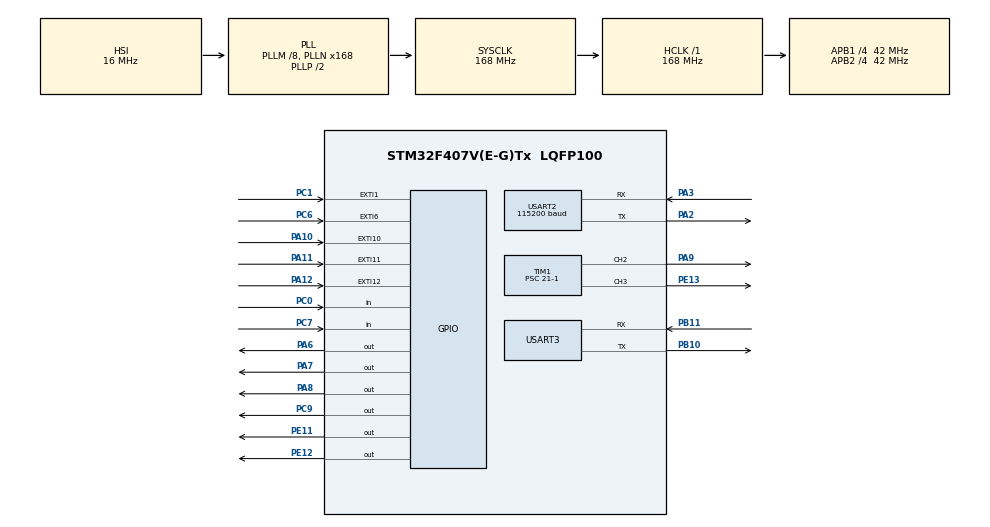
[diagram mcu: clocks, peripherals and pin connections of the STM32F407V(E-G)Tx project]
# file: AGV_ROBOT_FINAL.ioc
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Dma.Request0=USART2_RX
Dma.Request1=USART2_TX
Dma.USART2_RX.0.Direction=DMA_PERIPH_TO_MEMORY
Dma.USART2_RX.0.FIFOMode=DMA_FIFOMODE_DISABLE
Dma.USART2_RX.0.Instance=DMA1_Stream5
Dma.USART2_RX.0.MemDataAlignment=DMA_MDATAALIGN_BYTE
Dma.USART2_RX.0.MemInc=DMA_MINC_ENABLE
Dma.USART2_RX.0.Mode=DMA_CIRCULAR
Dma.USART2_RX.0.PeriphDataAlignment=DMA_PDATAALIGN_BYTE
Dma.USART2_RX.0.PeriphInc=DMA_PINC_DISABLE
Dma.USART2_RX.0.Priority=DMA_PRIORITY_LOW
Dma.USART2_TX.1.Direction=DMA_MEMORY_TO_PERIPH
Dma.USART2_TX.1.FIFOMode=DMA_FIFOMODE_DISABLE
Dma.USART2_TX.1.Instance=DMA1_Stream6
Dma.USART2_TX.1.MemDataAlignment=DMA_MDATAALIGN_BYTE
Dma.USART2_TX.1.MemInc=DMA_MINC_ENABLE
Dma.USART2_TX.1.Mode=DMA_NORMAL
Dma.USART2_TX.1.PeriphDataAlignment=DMA_PDATAALIGN_BYTE
Dma.USART2_TX.1.PeriphInc=DMA_PINC_DISABLE
Dma.USART2_TX.1.Priority=DMA_PRIORITY_LOW
Mcu.Family=STM32F4
Mcu.Name=STM32F407V(E-G)Tx
Mcu.Package=LQFP100
NVIC.DMA1_Stream5_IRQn=true\:0\:0\:false\:false\:true\:false\:true
NVIC.DMA1_Stream6_IRQn=true\:0\:0\:false\:false\:true\:false\:true
NVIC.EXTI15_10_IRQn=true\:2\:0\:true\:false\:true\:true\:true
NVIC.EXTI1_IRQn=true\:0\:0\:false\:false\:true\:true\:true
NVIC.EXTI9_5_IRQn=true\:0\:0\:false\:false\:true\:true\:true
NVIC.PriorityGroup=NVIC_PRIORITYGROUP_4
NVIC.TIM1_BRK_TIM9_IRQn=true\:0\:0\:false\:false\:true\:true\:true
NVIC.USART2_IRQn=true\:0\:0\:false\:false\:true\:true\:true
NVIC.USART3_IRQn=true\:0\:0\:false\:false\:true\:true\:true
PA10.GPIO_ModeDefaultEXTI=GPIO_MODE_IT_FALLING
PA10.GPIO_PuPd=GPIO_PULLUP
PA10.Signal=GPXTI10
PA11.GPIO_ModeDefaultEXTI=GPIO_MODE_IT_FALLING
PA11.GPIO_PuPd=GPIO_PULLUP
PA11.Signal=GPXTI11
PA12.GPIO_ModeDefaultEXTI=GPIO_MODE_IT_FALLING
PA12.GPIO_PuPd=GPIO_PULLUP
PA12.Signal=GPXTI12
PA13.Mode=Serial_Wire
PA13.Signal=SYS_JTMS-SWDIO
PA14.Mode=Serial_Wire
PA14.Signal=SYS_JTCK-SWCLK
PA2.Mode=Asynchronous
PA2.Signal=USART2_TX
PA3.Mode=Asynchronous
PA3.Signal=USART2_RX
PA6.Signal=GPIO_Output
PA7.Signal=GPIO_Output
PA8.Signal=GPIO_Output
PA9.Signal=S_TIM1_CH2
PB10.Mode=Asynchronous
PB10.Signal=USART3_TX
PB11.Mode=Asynchronous
PB11.Signal=USART3_RX
PC0.GPIO_PuPd=GPIO_PULLUP
PC0.Signal=GPIO_Input
PC1.GPIO_ModeDefaultEXTI=GPIO_MODE_IT_FALLING
PC1.GPIO_PuPd=GPIO_PULLUP
PC1.Signal=GPXTI1
PC6.GPIO_ModeDefaultEXTI=GPIO_MODE_IT_FALLING
PC6.GPIO_PuPd=GPIO_PULLUP
PC6.Signal=GPXTI6
PC7.GPIO_PuPd=GPIO_PULLUP
PC7.Signal=GPIO_Input
PC9.Signal=GPIO_Output
PE11.Signal=GPIO_Output
PE12.Signal=GPIO_Output
PE13.Signal=S_TIM1_CH3
ProjectManager.HeapSize=0x200
ProjectManager.StackSize=0x400
ProjectManager.TargetToolchain=STM32CubeIDE
RCC.48MHZClocksFreq_Value=84000000
RCC.AHBFreq_Value=168000000
RCC.APB1CLKDivider=RCC_HCLK_DIV4
RCC.APB1Freq_Value=42000000
RCC.APB1TimFreq_Value=84000000
RCC.APB2CLKDivider=RCC_HCLK_DIV4
RCC.APB2Freq_Value=42000000
RCC.APB2TimFreq_Value=84000000
RCC.CortexFreq_Value=168000000
RCC.HCLKFreq_Value=168000000
RCC.HSE_VALUE=25000000
RCC.HSI_VALUE=16000000
RCC.LSE_VALUE=32768
RCC.PLLM=8
RCC.PLLN=168
RCC.SYSCLKFreq_VALUE=168000000
RCC.SYSCLKSource=RCC_SYSCLKSOURCE_PLLCLK
RCC.VCOOutputFreq_Value=336000000
SH.S_TIM1_CH2.0=TIM1_CH2,PWM Generation2 CH2
SH.S_TIM1_CH3.0=TIM1_CH3,PWM Generation3 CH3
TIM1.Channel-PWM\ Generation2\ CH2=TIM_CHANNEL_2
TIM1.Channel-PWM\ Generation3\ CH3=TIM_CHANNEL_3
TIM1.Period=4000-1
TIM1.Prescaler=21-1
TIM9.Period=250-1
TIM9.Prescaler=8400-1
USART2.BaudRate=115200
USART2.VirtualMode=VM_ASYNC
USART3.VirtualMode=VM_ASYNC
VP_TIM1_VS_ClockSourceINT.Mode=Internal
VP_TIM9_VS_ClockSourceINT.Mode=Internal
board=custom

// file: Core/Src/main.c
/* USER CODE BEGIN Header */
/**
  ******************************************************************************
  * @file           : main.c
  * @brief          : Main program body
  ******************************************************************************
  * @attention
  *
  * <h2><center>&copy; Copyright (c) 2021 STMicroelectronics.
  * All rights reserved.</center></h2>
  *
  * This software component is licensed by ST under BSD 3-Clause license,
  * the "License"; You may not use this file except in compliance with the
  * License. You may obtain a copy of the License at:
  *                        opensource.org/licenses/BSD-3-Clause
  *
  ******************************************************************************
  */
/* USER CODE END Header */
#include "main.h"

/* USER CODE BEGIN Includes */
#include "mainpp.h"
#include <stdlib.h>
#include <string.h>
/* USER CODE END Includes */

TIM_HandleTypeDef htim1;
TIM_HandleTypeDef htim9;

UART_HandleTypeDef huart2;
UART_HandleTypeDef huart3;
DMA_HandleTypeDef hdma_usart2_rx;
DMA_HandleTypeDef hdma_usart2_tx;

void SystemClock_Config(void);
static void MX_GPIO_Init(void);
static void MX_DMA_Init(void);
static void MX_USART2_UART_Init(void);
static void MX_TIM1_Init(void);
static void MX_TIM9_Init(void);
static void MX_USART3_UART_Init(void);

/* USER CODE BEGIN 0 */
int chuyenChartoInt(char c)
{
		return (int)c-48;
}

void DC1_thuan(int speed)
{
	__HAL_TIM_SET_COMPARE(&htim1,TIM_CHANNEL_2,speed);
	HAL_GPIO_WritePin(GPIOA,GPIO_PIN_8,GPIO_PIN_SET);
	HAL_GPIO_WritePin(GPIOC,GPIO_PIN_9,GPIO_PIN_RESET);
}

void DC1_nghich(int speed)
{
	__HAL_TIM_SET_COMPARE(&htim1,TIM_CHANNEL_2,speed);
	HAL_GPIO_WritePin(GPIOA,GPIO_PIN_8,GPIO_PIN_RESET);
	HAL_GPIO_WritePin(GPIOC,GPIO_PIN_9,GPIO_PIN_SET);
}

void DC2_thuan(int speed)
{
	__HAL_TIM_SET_COMPARE(&htim1,TIM_CHANNEL_3,speed);
	HAL_GPIO_WritePin(GPIOE,GPIO_PIN_11,GPIO_PIN_SET);
	HAL_GPIO_WritePin(GPIOE,GPIO_PIN_12,GPIO_PIN_RESET);
}
void DC2_nghich(int speed)
{
	__HAL_TIM_SET_COMPARE(&htim1,TIM_CHANNEL_3,speed);
	HAL_GPIO_WritePin(GPIOE,GPIO_PIN_11,GPIO_PIN_RESET);
	HAL_GPIO_WritePin(GPIOE,GPIO_PIN_12,GPIO_PIN_SET);
}

void lui()
{
	DC1_nghich(PWM1);
	DC2_nghich(PWM2);
}

void tien()
{
	DC1_thuan(PWM1);
	DC2_thuan(PWM2);
}

void dung()
{
	HAL_GPIO_WritePin(GPIOE,GPIO_PIN_11,GPIO_PIN_SET);
	HAL_GPIO_WritePin(GPIOE,GPIO_PIN_12,GPIO_PIN_SET);

	HAL_GPIO_WritePin(GPIOA,GPIO_PIN_8,GPIO_PIN_SET);
	HAL_GPIO_WritePin(GPIOC,GPIO_PIN_9,GPIO_PIN_SET);
}

/* USER CODE END 0 */

int main(void)
{

  /* MCU Configuration--------------------------------------------------------*/

  /* Reset of all peripherals, Initializes the Flash interface and the Systick. */
  HAL_Init();

  /* Configure the system clock */
  SystemClock_Config();

  /* Initialize all configured peripherals */
  MX_GPIO_Init();
  MX_DMA_Init();
  MX_USART2_UART_Init();
  MX_TIM1_Init();
  MX_TIM9_Init();
  MX_USART3_UART_Init();
  /* USER CODE BEGIN 2 */
	HAL_TIM_PWM_Start(&htim1,TIM_CHANNEL_2);
	HAL_TIM_PWM_Start(&htim1,TIM_CHANNEL_3);
	HAL_TIM_Base_Start_IT(&htim9);
	//HAL_UART_Receive_IT(&huart3, &pData, 1);
	setup();
  /* USER CODE END 2 */

  /* Infinite loop */
  /* USER CODE BEGIN WHILE */
  while (1)
  {
	  //loop();
	  DC2_thuan(3000);
    /* USER CODE END WHILE */

  }
}

void SystemClock_Config(void)
{
  RCC_OscInitTypeDef RCC_OscInitStruct = {0};
  RCC_ClkInitTypeDef RCC_ClkInitStruct = {0};

  /** Configure the main internal regulator output voltage
  */
  __HAL_RCC_PWR_CLK_ENABLE();
  __HAL_PWR_VOLTAGESCALING_CONFIG(PWR_REGULATOR_VOLTAGE_SCALE1);
  /** Initializes the RCC Oscillators according to the specified parameters
  * in the RCC_OscInitTypeDef structure.
  */
  RCC_OscInitStruct.OscillatorType = RCC_OSCILLATORTYPE_HSI;
  RCC_OscInitStruct.HSIState = RCC_HSI_ON;
  RCC_OscInitStruct.HSICalibrationValue = RCC_HSICALIBRATION_DEFAULT;
  RCC_OscInitStruct.PLL.PLLState = RCC_PLL_ON;
  RCC_OscInitStruct.PLL.PLLSource = RCC_PLLSOURCE_HSI;
  RCC_OscInitStruct.PLL.PLLM = 8;
  RCC_OscInitStruct.PLL.PLLN = 168;
  RCC_OscInitStruct.PLL.PLLP = RCC_PLLP_DIV2;
  RCC_OscInitStruct.PLL.PLLQ = 4;
  if (HAL_RCC_OscConfig(&RCC_OscInitStruct) != HAL_OK)
  {
    Error_Handler();
  }
  /** Initializes the CPU, AHB and APB buses clocks
  */
  RCC_ClkInitStruct.ClockType = RCC_CLOCKTYPE_HCLK|RCC_CLOCKTYPE_SYSCLK
                              |RCC_CLOCKTYPE_PCLK1|RCC_CLOCKTYPE_PCLK2;
  RCC_ClkInitStruct.SYSCLKSource = RCC_SYSCLKSOURCE_PLLCLK;
  RCC_ClkInitStruct.AHBCLKDivider = RCC_SYSCLK_DIV1;
  RCC_ClkInitStruct.APB1CLKDivider = RCC_HCLK_DIV4;
  RCC_ClkInitStruct.APB2CLKDivider = RCC_HCLK_DIV4;

  if (HAL_RCC_ClockConfig(&RCC_ClkInitStruct, FLASH_LATENCY_5) != HAL_OK)
  {
    Error_Handler();
  }
}

static void MX_TIM1_Init(void)
{

  TIM_ClockConfigTypeDef sClockSourceConfig = {0};
  TIM_MasterConfigTypeDef sMasterConfig = {0};
  TIM_OC_InitTypeDef sConfigOC = {0};
  TIM_BreakDeadTimeConfigTypeDef sBreakDeadTimeConfig = {0};

  htim1.Instance = TIM1;
  htim1.Init.Prescaler = 21-1;
  htim1.Init.CounterMode = TIM_COUNTERMODE_UP;
  htim1.Init.Period = 4000-1;
  htim1.Init.ClockDivision = TIM_CLOCKDIVISION_DIV1;
  htim1.Init.RepetitionCounter = 0;
  htim1.Init.AutoReloadPreload = TIM_AUTORELOAD_PRELOAD_DISABLE;
  if (HAL_TIM_Base_Init(&htim1) != HAL_OK)
  {
    Error_Handler();
  }
  sClockSourceConfig.ClockSource = TIM_CLOCKSOURCE_INTERNAL;
  if (HAL_TIM_ConfigClockSource(&htim1, &sClockSourceConfig) != HAL_OK)
  {
    Error_Handler();
  }
  if (HAL_TIM_PWM_Init(&htim1) != HAL_OK)
  {
    Error_Handler();
  }
  sMasterConfig.MasterOutputTrigger = TIM_TRGO_RESET;
  sMasterConfig.MasterSlaveMode = TIM_MASTERSLAVEMODE_DISABLE;
  if (HAL_TIMEx_MasterConfigSynchronization(&htim1, &sMasterConfig) != HAL_OK)
  {
    Error_Handler();
  }
  sConfigOC.OCMode = TIM_OCMODE_PWM1;
  sConfigOC.Pulse = 0;
  sConfigOC.OCPolarity = TIM_OCPOLARITY_HIGH;
  sConfigOC.OCNPolarity = TIM_OCNPOLARITY_HIGH;
  sConfigOC.OCFastMode = TIM_OCFAST_DISABLE;
  sConfigOC.OCIdleState = TIM_OCIDLESTATE_RESET;
  sConfigOC.OCNIdleState = TIM_OCNIDLESTATE_RESET;
  if (HAL_TIM_PWM_ConfigChannel(&htim1, &sConfigOC, TIM_CHANNEL_2) != HAL_OK)
  {
    Error_Handler();
  }
  if (HAL_TIM_PWM_ConfigChannel(&htim1, &sConfigOC, TIM_CHANNEL_3) != HAL_OK)
  {
    Error_Handler();
  }
  sBreakDeadTimeConfig.OffStateRunMode = TIM_OSSR_DISABLE;
  sBreakDeadTimeConfig.OffStateIDLEMode = TIM_OSSI_DISABLE;
  sBreakDeadTimeConfig.LockLevel = TIM_LOCKLEVEL_OFF;
  sBreakDeadTimeConfig.DeadTime = 0;
  sBreakDeadTimeConfig.BreakState = TIM_BREAK_DISABLE;
  sBreakDeadTimeConfig.BreakPolarity = TIM_BREAKPOLARITY_HIGH;
  sBreakDeadTimeConfig.AutomaticOutput = TIM_AUTOMATICOUTPUT_DISABLE;
  if (HAL_TIMEx_ConfigBreakDeadTime(&htim1, &sBreakDeadTimeConfig) != HAL_OK)
  {
    Error_Handler();
  }
  HAL_TIM_MspPostInit(&htim1);

}

static void MX_TIM9_Init(void)
{

  TIM_ClockConfigTypeDef sClockSourceConfig = {0};

  htim9.Instance = TIM9;
  htim9.Init.Prescaler = 8400-1;
  htim9.Init.CounterMode = TIM_COUNTERMODE_UP;
  htim9.Init.Period = 250-1;
  htim9.Init.ClockDivision = TIM_CLOCKDIVISION_DIV1;
  htim9.Init.AutoReloadPreload = TIM_AUTORELOAD_PRELOAD_DISABLE;
  if (HAL_TIM_Base_Init(&htim9) != HAL_OK)
  {
    Error_Handler();
  }
  sClockSourceConfig.ClockSource = TIM_CLOCKSOURCE_INTERNAL;
  if (HAL_TIM_ConfigClockSource(&htim9, &sClockSourceConfig) != HAL_OK)
  {
    Error_Handler();
  }

}

static void MX_USART2_UART_Init(void)
{

  huart2.Instance = USART2;
  huart2.Init.BaudRate = 115200;
  huart2.Init.WordLength = UART_WORDLENGTH_8B;
  huart2.Init.StopBits = UART_STOPBITS_1;
  huart2.Init.Parity = UART_PARITY_NONE;
  huart2.Init.Mode = UART_MODE_TX_RX;
  huart2.Init.HwFlowCtl = UART_HWCONTROL_NONE;
  huart2.Init.OverSampling = UART_OVERSAMPLING_16;
  if (HAL_UART_Init(&huart2) != HAL_OK)
  {
    Error_Handler();
  }

}

static void MX_USART3_UART_Init(void)
{

  huart3.Instance = USART3;
  huart3.Init.BaudRate = 115200;
  huart3.Init.WordLength = UART_WORDLENGTH_8B;
  huart3.Init.StopBits = UART_STOPBITS_1;
  huart3.Init.Parity = UART_PARITY_NONE;
  huart3.Init.Mode = UART_MODE_TX_RX;
  huart3.Init.HwFlowCtl = UART_HWCONTROL_NONE;
  huart3.Init.OverSampling = UART_OVERSAMPLING_16;
  if (HAL_UART_Init(&huart3) != HAL_OK)
  {
    Error_Handler();
  }

}

static void MX_DMA_Init(void)
{

  /* DMA controller clock enable */
  __HAL_RCC_DMA1_CLK_ENABLE();

  /* DMA interrupt init */
  /* DMA1_Stream5_IRQn interrupt configuration */
  HAL_NVIC_SetPriority(DMA1_Stream5_IRQn, 0, 0);
  HAL_NVIC_EnableIRQ(DMA1_Stream5_IRQn);
  /* DMA1_Stream6_IRQn interrupt configuration */
  HAL_NVIC_SetPriority(DMA1_Stream6_IRQn, 0, 0);
  HAL_NVIC_EnableIRQ(DMA1_Stream6_IRQn);

}

static void MX_GPIO_Init(void)
{
  GPIO_InitTypeDef GPIO_InitStruct = {0};

  /* GPIO Ports Clock Enable */
  __HAL_RCC_GPIOC_CLK_ENABLE();
  __HAL_RCC_GPIOA_CLK_ENABLE();
  __HAL_RCC_GPIOE_CLK_ENABLE();
  __HAL_RCC_GPIOB_CLK_ENABLE();

  /*Configure GPIO pin Output Level */
  HAL_GPIO_WritePin(GPIOA, GPIO_PIN_6|GPIO_PIN_7|GPIO_PIN_8, GPIO_PIN_RESET);

  /*Configure GPIO pin Output Level */
  HAL_GPIO_WritePin(GPIOE, GPIO_PIN_11|GPIO_PIN_12, GPIO_PIN_RESET);

  /*Configure GPIO pin Output Level */
  HAL_GPIO_WritePin(GPIOC, GPIO_PIN_9, GPIO_PIN_RESET);

  /*Configure GPIO pins : PC0 PC7 */
  GPIO_InitStruct.Pin = GPIO_PIN_0|GPIO_PIN_7;
  GPIO_InitStruct.Mode = GPIO_MODE_INPUT;
  GPIO_InitStruct.Pull = GPIO_PULLUP;
  HAL_GPIO_Init(GPIOC, &GPIO_InitStruct);

  /*Configure GPIO pins : PC1 PC6 */
  GPIO_InitStruct.Pin = GPIO_PIN_1|GPIO_PIN_6;
  GPIO_InitStruct.Mode = GPIO_MODE_IT_FALLING;
  GPIO_InitStruct.Pull = GPIO_PULLUP;
  HAL_GPIO_Init(GPIOC, &GPIO_InitStruct);

  /*Configure GPIO pins : PA6 PA7 PA8 */
  GPIO_InitStruct.Pin = GPIO_PIN_6|GPIO_PIN_7|GPIO_PIN_8;
  GPIO_InitStruct.Mode = GPIO_MODE_OUTPUT_PP;
  GPIO_InitStruct.Pull = GPIO_NOPULL;
  GPIO_InitStruct.Speed = GPIO_SPEED_FREQ_LOW;
  HAL_GPIO_Init(GPIOA, &GPIO_InitStruct);

  /*Configure GPIO pins : PE11 PE12 */
  GPIO_InitStruct.Pin = GPIO_PIN_11|GPIO_PIN_12;
  GPIO_InitStruct.Mode = GPIO_MODE_OUTPUT_PP;
  GPIO_InitStruct.Pull = GPIO_NOPULL;
  GPIO_InitStruct.Speed = GPIO_SPEED_FREQ_LOW;
  HAL_GPIO_Init(GPIOE, &GPIO_InitStruct);

  /*Configure GPIO pin : PC9 */
  GPIO_InitStruct.Pin = GPIO_PIN_9;
  GPIO_InitStruct.Mode = GPIO_MODE_OUTPUT_PP;
  GPIO_InitStruct.Pull = GPIO_NOPULL;
  GPIO_InitStruct.Speed = GPIO_SPEED_FREQ_LOW;
  HAL_GPIO_Init(GPIOC, &GPIO_InitStruct);

  /*Configure GPIO pins : PA10 PA11 PA12 */
  GPIO_InitStruct.Pin = GPIO_PIN_10|GPIO_PIN_11|GPIO_PIN_12;
  GPIO_InitStruct.Mode = GPIO_MODE_IT_FALLING;
  GPIO_InitStruct.Pull = GPIO_PULLUP;
  HAL_GPIO_Init(GPIOA, &GPIO_InitStruct);

  /* EXTI interrupt init*/
  HAL_NVIC_SetPriority(EXTI1_IRQn, 0, 0);
  HAL_NVIC_EnableIRQ(EXTI1_IRQn);

  HAL_NVIC_SetPriority(EXTI9_5_IRQn, 0, 0);
  HAL_NVIC_EnableIRQ(EXTI9_5_IRQn);

  HAL_NVIC_SetPriority(EXTI15_10_IRQn, 2, 0);
  HAL_NVIC_EnableIRQ(EXTI15_10_IRQn);

}

void Error_Handler(void)
{
  __disable_irq();
  while (1)
  {
  }
}

/************************ (C) COPYRIGHT STMicroelectronics *****END OF FILE****/
